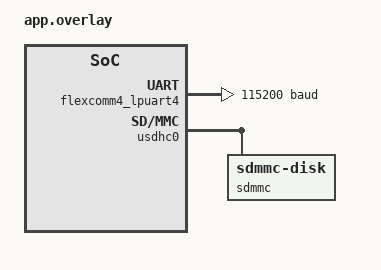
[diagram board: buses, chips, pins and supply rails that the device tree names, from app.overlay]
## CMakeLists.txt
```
cmake_minimum_required(VERSION 3.20.0)
find_package(Zephyr REQUIRED HINTS $ENV{ZEPHYR_BASE})
project(sd_test)

target_sources(app PRIVATE src/main.c)
```

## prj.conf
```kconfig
CONFIG_PRINTK=y
CONFIG_UART_CONSOLE=y
CONFIG_CONSOLE=y

# Larger main stack — we hold a 32 KB benchmark buffer on it (could move to
# static but stack is easiest)
CONFIG_MAIN_STACK_SIZE=4096

# SD subsystem stack — disk-access -> sdmmc -> sdhc -> usdhc
CONFIG_DISK_ACCESS=y
CONFIG_DISK_DRIVER_SDMMC=y
CONFIG_SDMMC_SUBSYS=y
CONFIG_SDHC=y
CONFIG_IMX_USDHC=y

# Logging — turn on while bringing this up so we can see what got negotiated
CONFIG_LOG=y
CONFIG_LOG_MODE_DEFERRED=y
CONFIG_SD_LOG_LEVEL_INF=y
CONFIG_SDMMC_LOG_LEVEL_INF=y
CONFIG_DISK_LOG_LEVEL_INF=y
```

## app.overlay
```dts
&flexcomm4_lpuart4 {
	status = "okay";
	current-speed = <115200>;
};

/ {
	chosen {
		zephyr,console = &flexcomm4_lpuart4;
		zephyr,shell-uart = &flexcomm4_lpuart4;
	};
};

&usdhc0 {
	status = "okay";
	/* Try HS mode (50 MHz). With no-1-8-v set in the board file this is the
	 * highest we can request. Drop to 25000000 if writes are flaky. */
	max-bus-freq = <50000000>;
	sdmmc {
		compatible = "zephyr,sdmmc-disk";
		disk-name = "SD";
		status = "okay";
	};
};
```

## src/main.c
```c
/*
 * Native SD card read/write throughput test (Zephyr / NXP USDHC).
 *
 * Bypasses the spi2c protocol entirely — talks directly to the SD card via
 * disk_access_*. Useful for isolating USDHC performance from the master <->
 * slave SPI link.
 *
 * Layout:
 *   - Init the disk, print sec_size and sec_count.
 *   - For a set of total-byte targets, run write+read+verify, time each phase,
 *     and print MB/s.
 *
 * Writes are NON-DESTRUCTIVE only if you point WRITE_START_SECTOR at unused
 * space. Default targets sectors at offset 1 GB from the start of the device,
 * which is in the middle of an ext4 partition on a card with a normal layout
 * — DO NOT run this against a card you care about without changing the
 * offset to a known-empty region.
 */

#include <zephyr/kernel.h>
#include <zephyr/sys/printk.h>
#include <zephyr/storage/disk_access.h>
#include <string.h>
#include <stdint.h>

#define DISK_NAME        "SD"
#define SECTOR_BYTES     512
#define BUF_SECTORS      64                        /* 32 KB per call — matches sd-bus */
#define BUF_BYTES        (BUF_SECTORS * SECTOR_BYTES)

/* WARNING — this overwrites the sectors at this offset. Set this to a region
 * of the card that's safe to clobber. 0x200000 sectors = 1 GB offset on a
 * 512-byte-sector card. Adjust if your partition layout is different. */
#define WRITE_START_SECTOR 0x200000

/* How much data to write/read for each test pass. */
static const size_t test_sizes_mb[] = { 1, 4, 16 };

static uint8_t write_buf[BUF_BYTES] __aligned(4);
static uint8_t read_buf[BUF_BYTES] __aligned(4);

/* Deterministic PRNG so the read-back can recompute expected bytes without
 * holding all the data in RAM. */
static uint64_t rng_state;
static uint64_t xorshift64(void) {
	uint64_t x = rng_state;
	x ^= x << 13;
	x ^= x >> 7;
	x ^= x << 17;
	rng_state = x;
	return x;
}

static void fill_buf(uint8_t *buf, size_t len) {
	for (size_t i = 0; i + sizeof(uint64_t) <= len; i += sizeof(uint64_t)) {
		uint64_t v = xorshift64();
		memcpy(buf + i, &v, sizeof(uint64_t));
	}
}

static int run_pass(uint32_t total_sectors, uint32_t start_sector) {
	const uint64_t seed = 0xCAFEF00DDEADBEEFULL;
	uint32_t calls = total_sectors / BUF_SECTORS;
	if (calls == 0) {
		printk("test size too small (need >= %u sectors)\n", BUF_SECTORS);
		return -1;
	}

	size_t total_bytes = (size_t)total_sectors * SECTOR_BYTES;
	size_t total_kb    = total_bytes / 1024;

	printk("\n--- pass: %zu KB (%u sectors, %u calls of %u sectors each) ---\n",
	       total_kb, total_sectors, calls, BUF_SECTORS);

	/* ---- WRITE ---- */
	rng_state = seed;
	int64_t t_start = k_uptime_get();
	for (uint32_t i = 0; i < calls; i++) {
		fill_buf(write_buf, BUF_BYTES);
		int rc = disk_access_write(DISK_NAME, write_buf,
		                           start_sector + i * BUF_SECTORS,
		                           BUF_SECTORS);
		if (rc) {
			printk("write failed at call %u: %d\n", i, rc);
			return rc;
		}
	}
	int64_t t_write_ms = k_uptime_get() - t_start;

	/* ---- READ + VERIFY ---- */
	rng_state = seed;
	t_start = k_uptime_get();
	uint32_t mismatches = 0;
	int32_t  first_bad_call = -1;
	for (uint32_t i = 0; i < calls; i++) {
		fill_buf(write_buf, BUF_BYTES);  /* expected pattern */
		int rc = disk_access_read(DISK_NAME, read_buf,
		                          start_sector + i * BUF_SECTORS,
		                          BUF_SECTORS);
		if (rc) {
			printk("read failed at call %u: %d\n", i, rc);
			return rc;
		}
		if (memcmp(write_buf, read_buf, BUF_BYTES) != 0) {
			mismatches++;
			if (first_bad_call < 0) first_bad_call = (int32_t)i;
		}
	}
	int64_t t_read_ms = k_uptime_get() - t_start;

	/* ---- REPORT ---- */
	uint32_t per_call_w_us = (uint32_t)((t_write_ms * 1000) / calls);
	uint32_t per_call_r_us = (uint32_t)((t_read_ms  * 1000) / calls);

	/* throughput = total_kb / time_ms * 1000 = KB/s, then /1024 = MB/s */
	/* compute in fixed point: kbs * 100 = (total_kb * 100000) / t_ms */
	uint32_t w_kbs_x100 = t_write_ms ? (uint32_t)((total_kb * 100000ULL) / t_write_ms) : 0;
	uint32_t r_kbs_x100 = t_read_ms  ? (uint32_t)((total_kb * 100000ULL) / t_read_ms ) : 0;

	printk("WRITE: %lld ms total, %u us/call (%u sec/call), %u.%02u KB/s\n",
	       t_write_ms, per_call_w_us, BUF_SECTORS,
	       w_kbs_x100 / 100, w_kbs_x100 % 100);
	printk("READ:  %lld ms total, %u us/call (%u sec/call), %u.%02u KB/s\n",
	       t_read_ms,  per_call_r_us, BUF_SECTORS,
	       r_kbs_x100 / 100, r_kbs_x100 % 100);
	if (mismatches) {
		printk("VERIFY: %u/%u calls mismatched (first at call %d)  FAIL\n",
		       mismatches, calls, first_bad_call);
		return -EIO;
	}
	printk("VERIFY: all %u calls match  PASS\n", calls);
	return 0;
}

int main(void) {
	printk("\n");
	printk("==============================================\n");
	printk("  Native SD throughput test (disk_access API)\n");
	printk("==============================================\n");

	int rc = disk_access_init(DISK_NAME);
	if (rc) {
		printk("disk_access_init(%s) failed: %d\n", DISK_NAME, rc);
		return rc;
	}

	uint32_t sec_size = 0, sec_count = 0;
	rc = disk_access_ioctl(DISK_NAME, DISK_IOCTL_GET_SECTOR_SIZE, &sec_size);
	if (rc) {
		printk("GET_SECTOR_SIZE failed: %d\n", rc);
		return rc;
	}
	rc = disk_access_ioctl(DISK_NAME, DISK_IOCTL_GET_SECTOR_COUNT, &sec_count);
	if (rc) {
		printk("GET_SECTOR_COUNT failed: %d\n", rc);
		return rc;
	}

	uint64_t total_mb = ((uint64_t)sec_count * sec_size) / (1024ULL * 1024ULL);
	printk("disk: sec_size=%u  sec_count=%u  (%llu MB)\n",
	       sec_size, sec_count, total_mb);
	printk("write_start_sector = 0x%X (byte offset 0x%llX)\n",
	       WRITE_START_SECTOR,
	       (unsigned long long)WRITE_START_SECTOR * sec_size);
	if (sec_size != SECTOR_BYTES) {
		printk("UNEXPECTED: sec_size != %u, aborting\n", SECTOR_BYTES);
		return -EINVAL;
	}
	if (WRITE_START_SECTOR + (test_sizes_mb[ARRAY_SIZE(test_sizes_mb) - 1]
	                          * 1024 * 1024 / SECTOR_BYTES) > sec_count) {
		printk("UNEXPECTED: write range exceeds card capacity, aborting\n");
		return -EINVAL;
	}

	for (size_t i = 0; i < ARRAY_SIZE(test_sizes_mb); i++) {
		uint32_t sectors = test_sizes_mb[i] * 1024 * 1024 / SECTOR_BYTES;
		rc = run_pass(sectors, WRITE_START_SECTOR);
		if (rc) {
			printk("pass at %zu MB failed: %d — stopping\n",
			       test_sizes_mb[i], rc);
			return rc;
		}
	}

	printk("\nALL PASSES DONE — idling.\n");
	while (1) {
		k_msleep(60000);
	}
	return 0;
}
```
